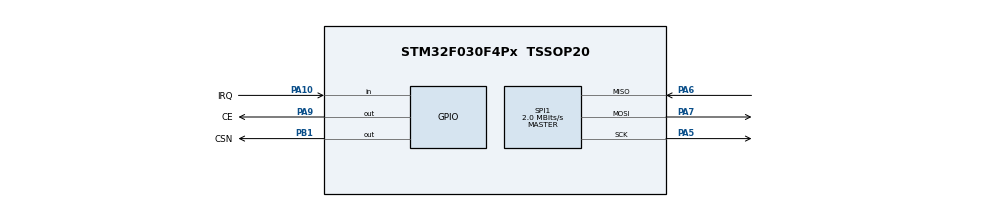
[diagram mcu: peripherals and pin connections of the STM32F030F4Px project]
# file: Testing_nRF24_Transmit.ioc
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Mcu.Family=STM32F0
Mcu.Name=STM32F030F4Px
Mcu.Package=TSSOP20
PA10.GPIO_Label=IRQ
PA10.Signal=GPIO_Input
PA13.Mode=Serial_Wire
PA13.Signal=SYS_SWDIO
PA14.Mode=Serial_Wire
PA14.Signal=SYS_SWCLK
PA5.Mode=Full_Duplex_Master
PA5.Signal=SPI1_SCK
PA6.Mode=Full_Duplex_Master
PA6.Signal=SPI1_MISO
PA7.Mode=Full_Duplex_Master
PA7.Signal=SPI1_MOSI
PA9.GPIO_Label=CE
PA9.Signal=GPIO_Output
PB1.GPIO_Label=CSN
PB1.Signal=GPIO_Output
PF0-OSC_IN.Mode=HSE-External-Oscillator
PF0-OSC_IN.Signal=RCC_OSC_IN
PF1-OSC_OUT.Mode=HSE-External-Oscillator
PF1-OSC_OUT.Signal=RCC_OSC_OUT
ProjectManager.HeapSize=0x200
ProjectManager.StackSize=0x400
ProjectManager.TargetToolchain=STM32CubeIDE
RCC.SYSCLKSource=RCC_SYSCLKSOURCE_HSE
SPI1.BaudRatePrescaler=SPI_BAUDRATEPRESCALER_4
SPI1.CalculateBaudRate=2.0 MBits/s
SPI1.Direction=SPI_DIRECTION_2LINES
SPI1.Mode=SPI_MODE_MASTER
SPI1.VirtualType=VM_MASTER
TIM14.Prescaler=7
VP_TIM14_VS_ClockSourceINT.Mode=Enable_Timer
board=custom

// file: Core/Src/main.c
/* USER CODE BEGIN Header */
/**
  ******************************************************************************
  * @file           : main.c
  * @brief          : Main program body
  ******************************************************************************
  * @attention
  *
  * <h2><center>&copy; Copyright (c) 2020 STMicroelectronics.
  * All rights reserved.</center></h2>
  *
  * This software component is licensed by ST under BSD 3-Clause license,
  * the "License"; You may not use this file except in compliance with the
  * License. You may obtain a copy of the License at:
  *                        opensource.org/licenses/BSD-3-Clause
  *
  ******************************************************************************
  */
/* USER CODE END Header */
#include "main.h"

/* USER CODE BEGIN Includes */
#include "RF24.h"
#include <stdlib.h>
/* USER CODE END Includes */

SPI_HandleTypeDef hspi1;

TIM_HandleTypeDef htim14;

void SystemClock_Config(void);
static void MX_GPIO_Init(void);
static void MX_SPI1_Init(void);
static void MX_TIM14_Init(void);

int main(void)
{
  /* USER CODE BEGIN 1 */

	uint16_t tick = 0;
  /* USER CODE END 1 */

  /* MCU Configuration--------------------------------------------------------*/

  /* Reset of all peripherals, Initializes the Flash interface and the Systick. */
  HAL_Init();

  /* Configure the system clock */
  SystemClock_Config();

  /* Initialize all configured peripherals */
  MX_GPIO_Init();
  MX_SPI1_Init();
  MX_TIM14_Init();
  /* USER CODE BEGIN 2 */
  //не работает в F0// DWT_Init(); // счётчик для микросекундных пауз

  const uint64_t pipe1 = 0xE8E8F0F0E2LL;

  uint8_t res = isChipConnected(); // проверяет подключён ли модуль к SPI

  res = NRF_Init(); // инициализация

  setChannel(19);
  openWritingPipe(pipe1);

  maskIRQ(true, true, true); // маскируем прерывания

  /* USER CODE END 2 */

  /* Infinite loop */
  /* USER CODE BEGIN WHILE */
  while (1)
  {
	  uint8_t *idBase = (uint8_t*)(UID_BASE);
	  uint8_t nrf_data[32] = {0,}; // буфер указываем максимального размера
	  nrf_data[0] = 77;
	  nrf_data[1] = 86;
	  nrf_data[2] = 97;
	  nrf_data[3] = tick;
	  nrf_data[4] = *idBase;

	  //uint8_t Temp = 78;

	  while(!(write(&nrf_data, strlen((const char*)nrf_data))))
	  {
		  HAL_Delay(rand()%100);
	  }
	  tick++;

	  HAL_Delay(1000);
    /* USER CODE END WHILE */

  }
}

void SystemClock_Config(void)
{
  RCC_OscInitTypeDef RCC_OscInitStruct = {0};
  RCC_ClkInitTypeDef RCC_ClkInitStruct = {0};

  /** Initializes the RCC Oscillators according to the specified parameters
  * in the RCC_OscInitTypeDef structure.
  */
  RCC_OscInitStruct.OscillatorType = RCC_OSCILLATORTYPE_HSE;
  RCC_OscInitStruct.HSEState = RCC_HSE_ON;
  RCC_OscInitStruct.PLL.PLLState = RCC_PLL_NONE;
  if (HAL_RCC_OscConfig(&RCC_OscInitStruct) != HAL_OK)
  {
    Error_Handler();
  }
  /** Initializes the CPU, AHB and APB buses clocks
  */
  RCC_ClkInitStruct.ClockType = RCC_CLOCKTYPE_HCLK|RCC_CLOCKTYPE_SYSCLK
                              |RCC_CLOCKTYPE_PCLK1;
  RCC_ClkInitStruct.SYSCLKSource = RCC_SYSCLKSOURCE_HSE;
  RCC_ClkInitStruct.AHBCLKDivider = RCC_SYSCLK_DIV1;
  RCC_ClkInitStruct.APB1CLKDivider = RCC_HCLK_DIV1;

  if (HAL_RCC_ClockConfig(&RCC_ClkInitStruct, FLASH_LATENCY_0) != HAL_OK)
  {
    Error_Handler();
  }
}

static void MX_SPI1_Init(void)
{

  /* SPI1 parameter configuration*/
  hspi1.Instance = SPI1;
  hspi1.Init.Mode = SPI_MODE_MASTER;
  hspi1.Init.Direction = SPI_DIRECTION_2LINES;
  hspi1.Init.DataSize = SPI_DATASIZE_4BIT;
  hspi1.Init.CLKPolarity = SPI_POLARITY_LOW;
  hspi1.Init.CLKPhase = SPI_PHASE_1EDGE;
  hspi1.Init.NSS = SPI_NSS_SOFT;
  hspi1.Init.BaudRatePrescaler = SPI_BAUDRATEPRESCALER_4;
  hspi1.Init.FirstBit = SPI_FIRSTBIT_MSB;
  hspi1.Init.TIMode = SPI_TIMODE_DISABLE;
  hspi1.Init.CRCCalculation = SPI_CRCCALCULATION_DISABLE;
  hspi1.Init.CRCPolynomial = 7;
  hspi1.Init.CRCLength = SPI_CRC_LENGTH_DATASIZE;
  hspi1.Init.NSSPMode = SPI_NSS_PULSE_ENABLE;
  if (HAL_SPI_Init(&hspi1) != HAL_OK)
  {
    Error_Handler();
  }

}

static void MX_TIM14_Init(void)
{

  htim14.Instance = TIM14;
  htim14.Init.Prescaler = 7;
  htim14.Init.CounterMode = TIM_COUNTERMODE_UP;
  htim14.Init.Period = 65535;
  htim14.Init.ClockDivision = TIM_CLOCKDIVISION_DIV1;
  htim14.Init.AutoReloadPreload = TIM_AUTORELOAD_PRELOAD_DISABLE;
  if (HAL_TIM_Base_Init(&htim14) != HAL_OK)
  {
    Error_Handler();
  }

}

static void MX_GPIO_Init(void)
{
  GPIO_InitTypeDef GPIO_InitStruct = {0};

  /* GPIO Ports Clock Enable */
  __HAL_RCC_GPIOF_CLK_ENABLE();
  __HAL_RCC_GPIOA_CLK_ENABLE();
  __HAL_RCC_GPIOB_CLK_ENABLE();

  /*Configure GPIO pin Output Level */
  HAL_GPIO_WritePin(CSN_GPIO_Port, CSN_Pin, GPIO_PIN_RESET);

  /*Configure GPIO pin Output Level */
  HAL_GPIO_WritePin(CE_GPIO_Port, CE_Pin, GPIO_PIN_RESET);

  /*Configure GPIO pin : CSN_Pin */
  GPIO_InitStruct.Pin = CSN_Pin;
  GPIO_InitStruct.Mode = GPIO_MODE_OUTPUT_PP;
  GPIO_InitStruct.Pull = GPIO_NOPULL;
  GPIO_InitStruct.Speed = GPIO_SPEED_FREQ_LOW;
  HAL_GPIO_Init(CSN_GPIO_Port, &GPIO_InitStruct);

  /*Configure GPIO pin : CE_Pin */
  GPIO_InitStruct.Pin = CE_Pin;
  GPIO_InitStruct.Mode = GPIO_MODE_OUTPUT_PP;
  GPIO_InitStruct.Pull = GPIO_NOPULL;
  GPIO_InitStruct.Speed = GPIO_SPEED_FREQ_LOW;
  HAL_GPIO_Init(CE_GPIO_Port, &GPIO_InitStruct);

  /*Configure GPIO pin : IRQ_Pin */
  GPIO_InitStruct.Pin = IRQ_Pin;
  GPIO_InitStruct.Mode = GPIO_MODE_INPUT;
  GPIO_InitStruct.Pull = GPIO_NOPULL;
  HAL_GPIO_Init(IRQ_GPIO_Port, &GPIO_InitStruct);

}

void Error_Handler(void)
{
}

/************************ (C) COPYRIGHT STMicroelectronics *****END OF FILE****/
